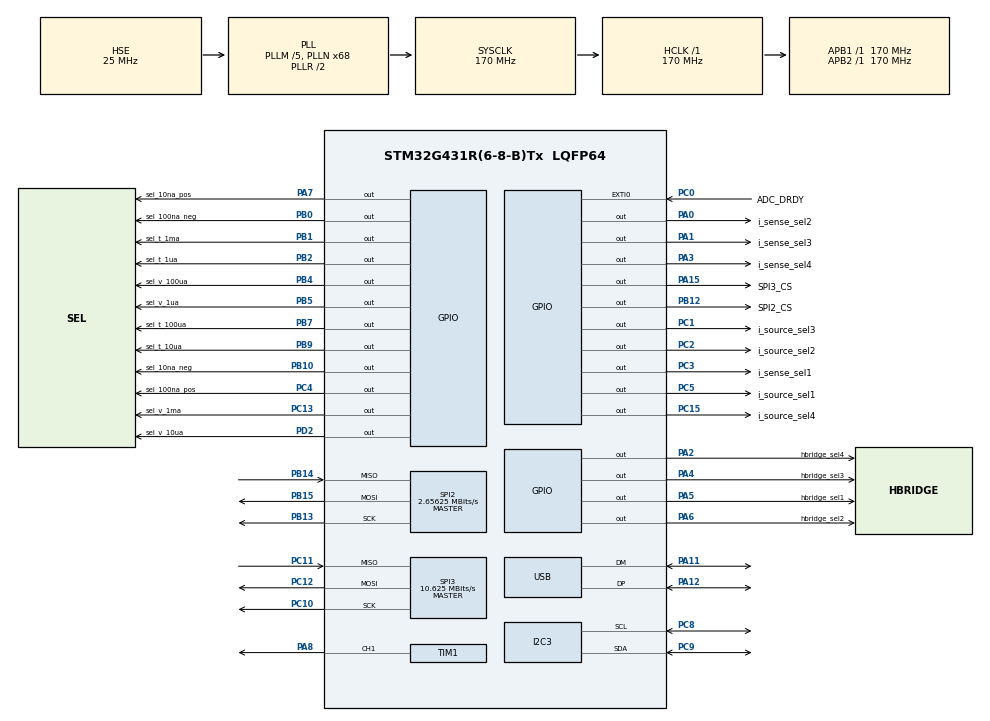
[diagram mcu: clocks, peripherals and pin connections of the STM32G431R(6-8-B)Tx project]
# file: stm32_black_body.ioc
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I2C3.Timing=0x40B285C2
Mcu.Family=STM32G4
Mcu.Name=STM32G431R(6-8-B)Tx
Mcu.Package=LQFP64
NVIC.EXTI0_IRQn=true\:0\:0\:false\:false\:true\:true\:true\:true
NVIC.PriorityGroup=NVIC_PRIORITYGROUP_4
PA0.GPIO_Label=i_sense_sel2
PA0.Signal=GPIO_Output
PA1.GPIO_Label=i_sense_sel3
PA1.Signal=GPIO_Output
PA11.Mode=Device
PA11.Signal=USB_DM
PA12.Mode=Device
PA12.Signal=USB_DP
PA13.Mode=Serial_Wire
PA13.Signal=SYS_JTMS-SWDIO
PA14.Mode=Serial_Wire
PA14.Signal=SYS_JTCK-SWCLK
PA15.GPIO_Label=SPI3_CS
PA15.Signal=GPIO_Output
PA2.GPIO_Label=hbridge_sel4
PA2.Signal=GPIO_Output
PA3.GPIO_Label=i_sense_sel4
PA3.Signal=GPIO_Output
PA4.GPIO_Label=hbridge_sel3
PA4.Signal=GPIO_Output
PA5.GPIO_Label=hbridge_sel1
PA5.Signal=GPIO_Output
PA6.GPIO_Label=hbridge_sel2
PA6.Signal=GPIO_Output
PA7.GPIO_Label=sel_10na_pos
PA7.Signal=GPIO_Output
PA8.Signal=S_TIM1_CH1
PB0.GPIO_Label=sel_100na_neg
PB0.Signal=GPIO_Output
PB1.GPIO_Label=sel_t_1ma
PB1.Signal=GPIO_Output
PB10.GPIO_Label=sel_10na_neg
PB10.Signal=GPIO_Output
PB12.GPIO_Label=SPI2_CS
PB12.Signal=GPIO_Output
PB13.Mode=Full_Duplex_Master
PB13.Signal=SPI2_SCK
PB14.Mode=Full_Duplex_Master
PB14.Signal=SPI2_MISO
PB15.Mode=Full_Duplex_Master
PB15.Signal=SPI2_MOSI
PB2.GPIO_Label=sel_t_1ua
PB2.Signal=GPIO_Output
PB4.GPIO_Label=sel_v_100ua
PB4.Signal=GPIO_Output
PB5.GPIO_Label=sel_v_1ua
PB5.Signal=GPIO_Output
PB7.GPIO_Label=sel_t_100ua
PB7.Signal=GPIO_Output
PB9.GPIO_Label=sel_t_10ua
PB9.Signal=GPIO_Output
PC0.GPIO_Label=ADC_DRDY
PC0.GPIO_ModeDefaultEXTI=GPIO_MODE_IT_FALLING
PC0.Signal=GPXTI0
PC1.GPIO_Label=i_source_sel3
PC1.Signal=GPIO_Output
PC10.Mode=Full_Duplex_Master
PC10.Signal=SPI3_SCK
PC11.Mode=Full_Duplex_Master
PC11.Signal=SPI3_MISO
PC12.Mode=Full_Duplex_Master
PC12.Signal=SPI3_MOSI
PC13.GPIO_Label=sel_v_1ma
PC13.Signal=GPIO_Output
PC15-OSC32_OUT.GPIO_Label=i_source_sel4
PC15-OSC32_OUT.Signal=GPIO_Output
PC2.GPIO_Label=i_source_sel2
PC2.Signal=GPIO_Output
PC3.GPIO_Label=i_sense_sel1
PC3.Signal=GPIO_Output
PC4.GPIO_Label=sel_100na_pos
PC4.Signal=GPIO_Output
PC5.GPIO_Label=i_source_sel1
PC5.Signal=GPIO_Output
PC8.Mode=I2C
PC8.Signal=I2C3_SCL
PC9.Mode=I2C
PC9.Signal=I2C3_SDA
PD2.GPIO_Label=sel_v_10ua
PD2.Signal=GPIO_Output
PF0-OSC_IN.Mode=HSE-External-Oscillator
PF0-OSC_IN.Signal=RCC_OSC_IN
PF1-OSC_OUT.Mode=HSE-External-Oscillator
PF1-OSC_OUT.Signal=RCC_OSC_OUT
ProjectManager.HeapSize=0x200
ProjectManager.StackSize=0x400
ProjectManager.TargetToolchain=CMake
RCC.ADC12Freq_Value=170000000
RCC.AHBFreq_Value=170000000
RCC.APB1Freq_Value=170000000
RCC.APB1TimFreq_Value=170000000
RCC.APB2Freq_Value=170000000
RCC.APB2TimFreq_Value=170000000
RCC.CK48CLockSelection=RCC_USBCLKSOURCE_HSI48
RCC.CortexFreq_Value=170000000
RCC.EXTERNAL_CLOCK_VALUE=12288000
RCC.HCLKFreq_Value=170000000
RCC.HSE_VALUE=25000000
RCC.HSI48_VALUE=48000000
RCC.HSI_VALUE=16000000
RCC.LSE_VALUE=32768
RCC.PLLM=RCC_PLLM_DIV5
RCC.PLLN=68
RCC.PLLSourceVirtual=RCC_PLLSOURCE_HSE
RCC.SYSCLKFreq_VALUE=170000000
RCC.SYSCLKSource=RCC_SYSCLKSOURCE_PLLCLK
RCC.USBFreq_Value=48000000
RCC.VCOOutputFreq_Value=340000000
SH.S_TIM1_CH1.0=TIM1_CH1,PWM Generation1 CH1
SPI2.BaudRatePrescaler=SPI_BAUDRATEPRESCALER_64
SPI2.CLKPhase=SPI_PHASE_2EDGE
SPI2.CalculateBaudRate=2.65625 MBits/s
SPI2.DataSize=SPI_DATASIZE_8BIT
SPI2.Direction=SPI_DIRECTION_2LINES
SPI2.Mode=SPI_MODE_MASTER
SPI2.VirtualType=VM_MASTER
SPI3.BaudRatePrescaler=SPI_BAUDRATEPRESCALER_16
SPI3.CLKPhase=SPI_PHASE_2EDGE
SPI3.CalculateBaudRate=10.625 MBits/s
SPI3.DataSize=SPI_DATASIZE_8BIT
SPI3.Direction=SPI_DIRECTION_2LINES
SPI3.Mode=SPI_MODE_MASTER
SPI3.TIMode=SPI_TIMODE_DISABLE
SPI3.VirtualType=VM_MASTER
TIM1.Channel-PWM\ Generation1\ CH1=TIM_CHANNEL_1
TIM1.PeriodNoDither=20
VP_SYS_VS_DBSignals.Mode=DisableDeadBatterySignals
board=custom

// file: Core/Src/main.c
/* USER CODE BEGIN Header */
/**
  ******************************************************************************
  * @file           : main.c
  * @brief          : Main program body
  ******************************************************************************
  * @attention
  *
  * Copyright (c) 2026 STMicroelectronics.
  * All rights reserved.
  *
  * This software is licensed under terms that can be found in the LICENSE file
  * in the root directory of this software component.
  * If no LICENSE file comes with this software, it is provided AS-IS.
  *
  ******************************************************************************
  */
/* USER CODE END Header */
#include "main.h"
#include "Ring_Buffer.h"
#include "stm32g4xx_hal.h"
#include "switches.h"

I2C_HandleTypeDef hi2c3;

SPI_HandleTypeDef hspi2;
SPI_HandleTypeDef hspi3;

TIM_HandleTypeDef htim1;

PCD_HandleTypeDef hpcd_USB_FS;

float volt_scale = 0.0;
float resistance_shift = 0.0;

void SystemClock_Config(void);
static void MX_GPIO_Init(void);
static void MX_USB_PCD_Init(void);
static void MX_SPI2_Init(void);
static void MX_SPI3_Init(void);
static void MX_I2C3_Init(void);
static void MX_TIM1_Init(void);

/* USER CODE BEGIN 0 */

ring_buffer voltage_buff;
ring_buffer current_buff;
ADS131M04 spi_params;
volatile uint8_t adc_flag = 0;
/* USER CODE END 0 */

int main(void)
{

  /* MCU Configuration--------------------------------------------------------*/

  /* Reset of all peripherals, Initializes the Flash interface and the Systick. */
  HAL_Init();

  /* Configure the system clock */
  SystemClock_Config();

  /* Initialize all configured peripherals */
  MX_GPIO_Init();
  MX_USB_PCD_Init();
  MX_SPI2_Init();
  MX_SPI3_Init();
  MX_I2C3_Init();
  MX_TIM1_Init();

  /* Infinite loop */
  /* USER CODE BEGIN WHILE */

  // Config External ADC read
  ADS131M04 ADS_hdev;
  ADS_hdev.clk_channel = TIM_CHANNEL_1;
  ADS_hdev.clk_htim = &htim1;
  ADS_hdev.cs_port = SPI3_CS_GPIO_Port;
  ADS_hdev.cs_pin = SPI3_CS_Pin;
  ADS_hdev.hspi = &hspi3;

  // Initilize spi_data struct
  Sensor_Data spi_data;

  // Change current parameters and change spi_data struct
  change_current(cur_100ua, right, &spi_data);
  HAL_Delay(1000);
  // Initilise external adc
  ADS131M04_Init(&ADS_hdev);

  // ADC buffer
  int32_t reg_data[4] = {0};

  // Ring buffer
  ring_buffer v_buff;
  ring_buffer i_buff;
  ringBufferInit(&v_buff);
  ringBufferInit(&i_buff);
  // Debugging counter
  //int count = 0;
  while (1)
  {
    // Read adc data once drdy interupt fires
    if (adc_flag == 1){
      ADS131M04_ADC_Read(&ADS_hdev, reg_data);
      // Get shunt resistance value
      float shunt_resistance = 0;
      switch(spi_data.shunt_resistor){

        case 0:
          shunt_resistance = 3.2;
          break;
        case 1:
          shunt_resistance = 8.2;
          break;
        case 2:
          shunt_resistance = 503;
          break;
        case 3:
          shunt_resistance = 33200;
          break;
        default:
          shunt_resistance = 1;
          break;

      }

      // Save data to send over spi

      // 6 comes from adc max range of 1.2 * gain of 200 converted to mv
      float raw_voltage = float_abs(map(reg_data[1], -8388608, 8388607, -6.0, 6.0));

      // 6 comes from adc max range of 1.2 * gain of 200 converted to mv
      // Works on the principle of I = V/R using the shunt resistance
      // Multiply by 1000 to convert to uA
      float raw_current = float_abs(map(reg_data[0], -8388608, 8388607, -6.0, 6.0)) / shunt_resistance * 1000;

      // Smooth minor ADC noise with a 20-sample rolling average before
      // sending over SPI (resistance is then derived from the averaged
      // V/I so it inherits the same smoothing).
      spi_data.voltage = (float)bufferAddAverage((double)raw_voltage, &v_buff);
      spi_data.current = (float)bufferAddAverage((double)raw_current, &i_buff);
      spi_data.resistance = (spi_data.voltage / spi_data.current * 1000 * volt_scale) + resistance_shift;

      // Reset drdy flag
      external_interface_send(&spi_data, &hspi2);
      adc_flag = 0;
    }

    if (autoset_current(&spi_data)){
      // Current source (and therefore the voltage/current scale) just
      // changed: drop the old samples so the rolling average doesn't blend
      // readings taken at two different ranges.
      ringBufferInit(&v_buff);
      ringBufferInit(&i_buff);
    }

    //Debugging
    //if (count >= 200) {
      //if (spi_data.cur_source == 5) change_current(cur_100ua, right, &spi_data);
      //else if (spi_data.cur_source == 4) change_current(cur_1ma, right, &spi_data);
      //count = 0;
    //}
    //count++;
    //End debugging
    /* USER CODE END WHILE */

  }
}

void SystemClock_Config(void)
{
  RCC_OscInitTypeDef RCC_OscInitStruct = {0};
  RCC_ClkInitTypeDef RCC_ClkInitStruct = {0};

  /** Configure the main internal regulator output voltage
  */
  HAL_PWREx_ControlVoltageScaling(PWR_REGULATOR_VOLTAGE_SCALE1_BOOST);

  /** Initializes the RCC Oscillators according to the specified parameters
  * in the RCC_OscInitTypeDef structure.
  */
  RCC_OscInitStruct.OscillatorType = RCC_OSCILLATORTYPE_HSI48|RCC_OSCILLATORTYPE_HSE;
  RCC_OscInitStruct.HSEState = RCC_HSE_ON;
  RCC_OscInitStruct.HSI48State = RCC_HSI48_ON;
  RCC_OscInitStruct.PLL.PLLState = RCC_PLL_ON;
  RCC_OscInitStruct.PLL.PLLSource = RCC_PLLSOURCE_HSE;
  RCC_OscInitStruct.PLL.PLLM = RCC_PLLM_DIV5;
  RCC_OscInitStruct.PLL.PLLN = 68;
  RCC_OscInitStruct.PLL.PLLP = RCC_PLLP_DIV2;
  RCC_OscInitStruct.PLL.PLLQ = RCC_PLLQ_DIV2;
  RCC_OscInitStruct.PLL.PLLR = RCC_PLLR_DIV2;
  if (HAL_RCC_OscConfig(&RCC_OscInitStruct) != HAL_OK)
  {
    Error_Handler();
  }

  /** Initializes the CPU, AHB and APB buses clocks
  */
  RCC_ClkInitStruct.ClockType = RCC_CLOCKTYPE_HCLK|RCC_CLOCKTYPE_SYSCLK
                              |RCC_CLOCKTYPE_PCLK1|RCC_CLOCKTYPE_PCLK2;
  RCC_ClkInitStruct.SYSCLKSource = RCC_SYSCLKSOURCE_PLLCLK;
  RCC_ClkInitStruct.AHBCLKDivider = RCC_SYSCLK_DIV1;
  RCC_ClkInitStruct.APB1CLKDivider = RCC_HCLK_DIV1;
  RCC_ClkInitStruct.APB2CLKDivider = RCC_HCLK_DIV1;

  if (HAL_RCC_ClockConfig(&RCC_ClkInitStruct, FLASH_LATENCY_4) != HAL_OK)
  {
    Error_Handler();
  }
}

static void MX_I2C3_Init(void)
{

  hi2c3.Instance = I2C3;
  hi2c3.Init.Timing = 0x40B285C2;
  hi2c3.Init.OwnAddress1 = 0;
  hi2c3.Init.AddressingMode = I2C_ADDRESSINGMODE_7BIT;
  hi2c3.Init.DualAddressMode = I2C_DUALADDRESS_DISABLE;
  hi2c3.Init.OwnAddress2 = 0;
  hi2c3.Init.OwnAddress2Masks = I2C_OA2_NOMASK;
  hi2c3.Init.GeneralCallMode = I2C_GENERALCALL_DISABLE;
  hi2c3.Init.NoStretchMode = I2C_NOSTRETCH_DISABLE;
  if (HAL_I2C_Init(&hi2c3) != HAL_OK)
  {
    Error_Handler();
  }

  /** Configure Analogue filter
  */
  if (HAL_I2CEx_ConfigAnalogFilter(&hi2c3, I2C_ANALOGFILTER_ENABLE) != HAL_OK)
  {
    Error_Handler();
  }

  /** Configure Digital filter
  */
  if (HAL_I2CEx_ConfigDigitalFilter(&hi2c3, 0) != HAL_OK)
  {
    Error_Handler();
  }

}

static void MX_SPI2_Init(void)
{

  /* SPI2 parameter configuration*/
  hspi2.Instance = SPI2;
  hspi2.Init.Mode = SPI_MODE_MASTER;
  hspi2.Init.Direction = SPI_DIRECTION_2LINES;
  hspi2.Init.DataSize = SPI_DATASIZE_8BIT;
  hspi2.Init.CLKPolarity = SPI_POLARITY_LOW;
  hspi2.Init.CLKPhase = SPI_PHASE_2EDGE;
  hspi2.Init.NSS = SPI_NSS_SOFT;
  hspi2.Init.BaudRatePrescaler = SPI_BAUDRATEPRESCALER_64;
  hspi2.Init.FirstBit = SPI_FIRSTBIT_MSB;
  hspi2.Init.TIMode = SPI_TIMODE_DISABLE;
  hspi2.Init.CRCCalculation = SPI_CRCCALCULATION_DISABLE;
  hspi2.Init.CRCPolynomial = 7;
  hspi2.Init.CRCLength = SPI_CRC_LENGTH_DATASIZE;
  hspi2.Init.NSSPMode = SPI_NSS_PULSE_DISABLE;
  if (HAL_SPI_Init(&hspi2) != HAL_OK)
  {
    Error_Handler();
  }

}

static void MX_SPI3_Init(void)
{

  /* SPI3 parameter configuration*/
  hspi3.Instance = SPI3;
  hspi3.Init.Mode = SPI_MODE_MASTER;
  hspi3.Init.Direction = SPI_DIRECTION_2LINES;
  hspi3.Init.DataSize = SPI_DATASIZE_8BIT;
  hspi3.Init.CLKPolarity = SPI_POLARITY_LOW;
  hspi3.Init.CLKPhase = SPI_PHASE_2EDGE;
  hspi3.Init.NSS = SPI_NSS_SOFT;
  hspi3.Init.BaudRatePrescaler = SPI_BAUDRATEPRESCALER_16;
  hspi3.Init.FirstBit = SPI_FIRSTBIT_MSB;
  hspi3.Init.TIMode = SPI_TIMODE_DISABLE;
  hspi3.Init.CRCCalculation = SPI_CRCCALCULATION_DISABLE;
  hspi3.Init.CRCPolynomial = 7;
  hspi3.Init.CRCLength = SPI_CRC_LENGTH_DATASIZE;
  hspi3.Init.NSSPMode = SPI_NSS_PULSE_DISABLE;
  if (HAL_SPI_Init(&hspi3) != HAL_OK)
  {
    Error_Handler();
  }

}

static void MX_TIM1_Init(void)
{

  TIM_MasterConfigTypeDef sMasterConfig = {0};
  TIM_OC_InitTypeDef sConfigOC = {0};
  TIM_BreakDeadTimeConfigTypeDef sBreakDeadTimeConfig = {0};

  htim1.Instance = TIM1;
  htim1.Init.Prescaler = 0;
  htim1.Init.CounterMode = TIM_COUNTERMODE_UP;
  htim1.Init.Period = 20;
  htim1.Init.ClockDivision = TIM_CLOCKDIVISION_DIV1;
  htim1.Init.RepetitionCounter = 0;
  htim1.Init.AutoReloadPreload = TIM_AUTORELOAD_PRELOAD_DISABLE;
  if (HAL_TIM_PWM_Init(&htim1) != HAL_OK)
  {
    Error_Handler();
  }
  sMasterConfig.MasterOutputTrigger = TIM_TRGO_RESET;
  sMasterConfig.MasterOutputTrigger2 = TIM_TRGO2_RESET;
  sMasterConfig.MasterSlaveMode = TIM_MASTERSLAVEMODE_DISABLE;
  if (HAL_TIMEx_MasterConfigSynchronization(&htim1, &sMasterConfig) != HAL_OK)
  {
    Error_Handler();
  }
  sConfigOC.OCMode = TIM_OCMODE_PWM1;
  sConfigOC.Pulse = 0;
  sConfigOC.OCPolarity = TIM_OCPOLARITY_HIGH;
  sConfigOC.OCNPolarity = TIM_OCNPOLARITY_HIGH;
  sConfigOC.OCFastMode = TIM_OCFAST_DISABLE;
  sConfigOC.OCIdleState = TIM_OCIDLESTATE_RESET;
  sConfigOC.OCNIdleState = TIM_OCNIDLESTATE_RESET;
  if (HAL_TIM_PWM_ConfigChannel(&htim1, &sConfigOC, TIM_CHANNEL_1) != HAL_OK)
  {
    Error_Handler();
  }
  sBreakDeadTimeConfig.OffStateRunMode = TIM_OSSR_DISABLE;
  sBreakDeadTimeConfig.OffStateIDLEMode = TIM_OSSI_DISABLE;
  sBreakDeadTimeConfig.LockLevel = TIM_LOCKLEVEL_OFF;
  sBreakDeadTimeConfig.DeadTime = 0;
  sBreakDeadTimeConfig.BreakState = TIM_BREAK_DISABLE;
  sBreakDeadTimeConfig.BreakPolarity = TIM_BREAKPOLARITY_HIGH;
  sBreakDeadTimeConfig.BreakFilter = 0;
  sBreakDeadTimeConfig.BreakAFMode = TIM_BREAK_AFMODE_INPUT;
  sBreakDeadTimeConfig.Break2State = TIM_BREAK2_DISABLE;
  sBreakDeadTimeConfig.Break2Polarity = TIM_BREAK2POLARITY_HIGH;
  sBreakDeadTimeConfig.Break2Filter = 0;
  sBreakDeadTimeConfig.Break2AFMode = TIM_BREAK_AFMODE_INPUT;
  sBreakDeadTimeConfig.AutomaticOutput = TIM_AUTOMATICOUTPUT_DISABLE;
  if (HAL_TIMEx_ConfigBreakDeadTime(&htim1, &sBreakDeadTimeConfig) != HAL_OK)
  {
    Error_Handler();
  }
  HAL_TIM_MspPostInit(&htim1);

}

static void MX_USB_PCD_Init(void)
{

  hpcd_USB_FS.Instance = USB;
  hpcd_USB_FS.Init.dev_endpoints = 8;
  hpcd_USB_FS.Init.speed = PCD_SPEED_FULL;
  hpcd_USB_FS.Init.phy_itface = PCD_PHY_EMBEDDED;
  hpcd_USB_FS.Init.Sof_enable = DISABLE;
  hpcd_USB_FS.Init.low_power_enable = DISABLE;
  hpcd_USB_FS.Init.lpm_enable = DISABLE;
  hpcd_USB_FS.Init.battery_charging_enable = DISABLE;
  if (HAL_PCD_Init(&hpcd_USB_FS) != HAL_OK)
  {
    Error_Handler();
  }

}

static void MX_GPIO_Init(void)
{
  GPIO_InitTypeDef GPIO_InitStruct = {0};

  /* GPIO Ports Clock Enable */
  __HAL_RCC_GPIOC_CLK_ENABLE();
  __HAL_RCC_GPIOF_CLK_ENABLE();
  __HAL_RCC_GPIOA_CLK_ENABLE();
  __HAL_RCC_GPIOB_CLK_ENABLE();
  __HAL_RCC_GPIOD_CLK_ENABLE();

  /*Configure GPIO pin Output Level */
  HAL_GPIO_WritePin(GPIOC, sel_v_1ma_Pin|i_source_sel4_Pin|i_source_sel3_Pin|i_source_sel2_Pin
                          |i_sense_sel1_Pin|sel_100na_pos_Pin|i_source_sel1_Pin, GPIO_PIN_RESET);

  /*Configure GPIO pin Output Level */
  HAL_GPIO_WritePin(GPIOA, i_sense_sel2_Pin|i_sense_sel3_Pin|hbridge_sel4_Pin|i_sense_sel4_Pin
                          |hbridge_sel3_Pin|hbridge_sel1_Pin|hbridge_sel2_Pin|sel_10na_pos_Pin
                          |SPI3_CS_Pin, GPIO_PIN_RESET);

  /*Configure GPIO pin Output Level */
  HAL_GPIO_WritePin(GPIOB, sel_100na_neg_Pin|sel_t_1ma_Pin|sel_t_1ua_Pin|sel_10na_neg_Pin
                          |SPI2_CS_Pin|sel_v_100ua_Pin|sel_v_1ua_Pin|sel_t_100ua_Pin
                          |sel_t_10ua_Pin, GPIO_PIN_RESET);

  /*Configure GPIO pin Output Level */
  HAL_GPIO_WritePin(sel_v_10ua_GPIO_Port, sel_v_10ua_Pin, GPIO_PIN_RESET);

  /*Configure GPIO pins : sel_v_1ma_Pin i_source_sel4_Pin i_source_sel3_Pin i_source_sel2_Pin
                           i_sense_sel1_Pin sel_100na_pos_Pin i_source_sel1_Pin */
  GPIO_InitStruct.Pin = sel_v_1ma_Pin|i_source_sel4_Pin|i_source_sel3_Pin|i_source_sel2_Pin
                          |i_sense_sel1_Pin|sel_100na_pos_Pin|i_source_sel1_Pin;
  GPIO_InitStruct.Mode = GPIO_MODE_OUTPUT_PP;
  GPIO_InitStruct.Pull = GPIO_NOPULL;
  GPIO_InitStruct.Speed = GPIO_SPEED_FREQ_LOW;
  HAL_GPIO_Init(GPIOC, &GPIO_InitStruct);

  /*Configure GPIO pin : ADC_DRDY_Pin */
  GPIO_InitStruct.Pin = ADC_DRDY_Pin;
  GPIO_InitStruct.Mode = GPIO_MODE_IT_FALLING;
  GPIO_InitStruct.Pull = GPIO_NOPULL;
  HAL_GPIO_Init(ADC_DRDY_GPIO_Port, &GPIO_InitStruct);

  /*Configure GPIO pins : i_sense_sel2_Pin i_sense_sel3_Pin hbridge_sel4_Pin i_sense_sel4_Pin
                           hbridge_sel3_Pin hbridge_sel1_Pin hbridge_sel2_Pin sel_10na_pos_Pin
                           SPI3_CS_Pin */
  GPIO_InitStruct.Pin = i_sense_sel2_Pin|i_sense_sel3_Pin|hbridge_sel4_Pin|i_sense_sel4_Pin
                          |hbridge_sel3_Pin|hbridge_sel1_Pin|hbridge_sel2_Pin|sel_10na_pos_Pin
                          |SPI3_CS_Pin;
  GPIO_InitStruct.Mode = GPIO_MODE_OUTPUT_PP;
  GPIO_InitStruct.Pull = GPIO_NOPULL;
  GPIO_InitStruct.Speed = GPIO_SPEED_FREQ_LOW;
  HAL_GPIO_Init(GPIOA, &GPIO_InitStruct);

  /*Configure GPIO pins : sel_100na_neg_Pin sel_t_1ma_Pin sel_t_1ua_Pin sel_10na_neg_Pin
                           SPI2_CS_Pin sel_v_100ua_Pin sel_v_1ua_Pin sel_t_100ua_Pin
                           sel_t_10ua_Pin */
  GPIO_InitStruct.Pin = sel_100na_neg_Pin|sel_t_1ma_Pin|sel_t_1ua_Pin|sel_10na_neg_Pin
                          |SPI2_CS_Pin|sel_v_100ua_Pin|sel_v_1ua_Pin|sel_t_100ua_Pin
                          |sel_t_10ua_Pin;
  GPIO_InitStruct.Mode = GPIO_MODE_OUTPUT_PP;
  GPIO_InitStruct.Pull = GPIO_NOPULL;
  GPIO_InitStruct.Speed = GPIO_SPEED_FREQ_LOW;
  HAL_GPIO_Init(GPIOB, &GPIO_InitStruct);

  /*Configure GPIO pin : sel_v_10ua_Pin */
  GPIO_InitStruct.Pin = sel_v_10ua_Pin;
  GPIO_InitStruct.Mode = GPIO_MODE_OUTPUT_PP;
  GPIO_InitStruct.Pull = GPIO_NOPULL;
  GPIO_InitStruct.Speed = GPIO_SPEED_FREQ_LOW;
  HAL_GPIO_Init(sel_v_10ua_GPIO_Port, &GPIO_InitStruct);

  /* EXTI interrupt init*/
  HAL_NVIC_SetPriority(EXTI0_IRQn, 0, 0);
  HAL_NVIC_EnableIRQ(EXTI0_IRQn);

}

/* USER CODE BEGIN 4 */
void HAL_GPIO_EXTI_Callback(uint16_t GPIO_Pin){
  if (GPIO_Pin == ADC_DRDY_Pin){
    adc_flag = 1;
  } else {
    __NOP();
  }
}

void set_shunt(current source_current, Sensor_Data *data){
  // Set shunt based on current source
  cur_resistor shunt_resistor = 0;
  if (source_current < 2){
    shunt_resistor = _33k2;
  }
  else if (source_current < 4){
    shunt_resistor = _500;
  }
  else if (source_current < 5){
    shunt_resistor = _5;
  }
  else if (source_current < 6){
    shunt_resistor = none;
  }
  else {
    shunt_resistor = disable;
  }
  current_measurement_resistor(shunt_resistor);

  // Update shunt value sent to esp32
  data->shunt_resistor = shunt_resistor;
}

int autoset_current(Sensor_Data *spi_data){
  int changed = 0;
  switch((int)spi_data->cur_source){
    //case 0:
      //if (spi_data->voltage < 0.06){
        //current_source(cur_100na);
        //spi_data->cur_source = cur_100na;
        //HAL_Delay(100);
      //}
      //break;
    //case 1:
      //if (spi_data->voltage < 0.2){
        //current_source(cur_1ua);
        //spi_data->cur_source = cur_1ua;
        //HAL_Delay(100);
      //}
      //else if (spi_data->voltage > 0.8){
        //current_source(cur_10na);
        //spi_data->cur_source = cur_10na;
        //HAL_Delay(100);
      //}
      //break;
    //case 2:
      //if (spi_data->voltage < 0.5){
        //current_source(cur_10ua);
        //spi_data->cur_source = cur_10ua;
        //HAL_Delay(100);
      //}
      //else if (spi_data->voltage > 3){
        //current_source(cur_100na);
        //spi_data->cur_source = cur_100na;
        //HAL_Delay(100);
      //}
      //break;
    case 3:
      if (spi_data->voltage < 0.4){
        current_source(cur_100ua, &volt_scale, &resistance_shift);
        spi_data->cur_source = cur_100ua;
        changed = 1;
      }
      //else if (spi_data->voltage > 5.0){
        //current_source(cur_1ua);
        //spi_data->cur_source = cur_1ua;
        //HAL_Delay(100);
      //}
      break;
    case 4:
      if (spi_data->voltage < 0.4){
        current_source(cur_1ma, &volt_scale, &resistance_shift);
        spi_data->cur_source = cur_1ma;
        changed = 1;
      }
      else if (spi_data->voltage > 5.0){
        current_source(cur_10ua, &volt_scale, &resistance_shift);
        spi_data->cur_source = cur_10ua;
        changed = 1;
      }
      break;
    case 5:
      if (spi_data->voltage > 5.0){
        current_source(cur_100ua, &volt_scale, &resistance_shift);
        spi_data->cur_source = cur_100ua;
        HAL_Delay(100);
        changed = 1;
      }
      break;
  }
  if (changed == 1){
    set_shunt(spi_data->cur_source, spi_data);
  }
  return changed;
}

void change_current(current source_current, cur_direction direction, Sensor_Data *data){
  current_source(source_current, &volt_scale, &resistance_shift);
  current_direction(direction);

  set_shunt(source_current, data);

  // Update data to send to ESP32
  data->cur_direction = direction;
  data->cur_source = source_current;
}

float map(uint32_t x, uint32_t x_min, uint32_t x_max, float y_min, float y_max){
  return (float)(x - x_min) * (y_max - y_min) / (float)(x_max - x_min) + y_min;
}

float float_abs(float x){
  if (x >= 0.0) return x;
  else return x * (-1);
}

/* USER CODE END 4 */

void Error_Handler(void)
{
  __disable_irq();
  while (1)
  {
  }
}
